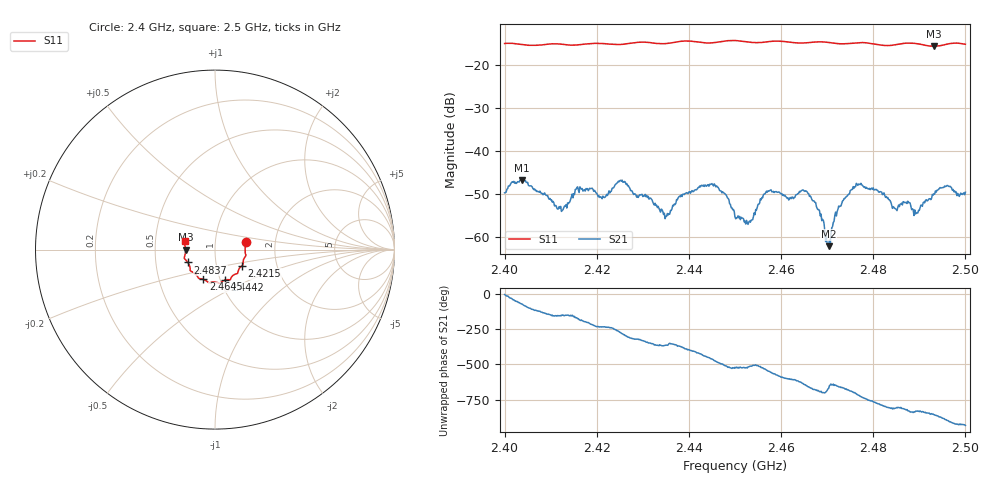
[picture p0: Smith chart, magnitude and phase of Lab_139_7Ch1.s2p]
# Hz S RI R 50
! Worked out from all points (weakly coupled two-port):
!   601 points, 2.4 GHz to 2.5 GHz, reference 50 ohm
!   highest |S21| = -46.70 dB at 2.4038 GHz (marker M1); lowest = -62.1 dB at 2.4703 GHz (marker M2)
!   lowest |S11| = -15.7 dB at 2.4932 GHz (marker M3), VSWR 1.39, Z = 35.9 - j0.0604 ohm
!   |S11| at or under -10 dB: start of sweep to end of sweep
!   S12 and S22 are empty: the file has one direction only
!   S11 on the Smith chart (normalised r, x): 2.4 GHz: 1.41, +0.12; 2.4215 GHz: 1.33, -0.25; 2.4442 GHz: 1.05, -0.37; 2.4645 GHz: 0.83, -0.29; 2.4837 GHz: 0.73, -0.11; 2.5 GHz: 0.71, +0.07
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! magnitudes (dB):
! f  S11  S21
! 2.4 GHz  -15.1  -49.7
! 2.4038 GHz  -15.3  -46.7
! 2.412 GHz  -15.2  -53.3
! 2.4167 GHz  -15.3  -48.8
! 2.4215 GHz  -15.1  -50.7
! 2.4255 GHz  -15.3  -46.8
! 2.4333 GHz  -15.1  -52.9
! 2.4353 GHz  -15.1  -54.5
! 2.4442 GHz  -15.0  -47.8
! 2.45 GHz  -14.4  -55.3
! 2.4528 GHz  -14.7  -57.0
! 2.4572 GHz  -14.7  -49.2
! 2.4645 GHz  -15.0  -49.2
! 2.4667 GHz  -14.8  -51.2
! 2.4703 GHz  -14.9  -62.1
! 2.4722 GHz  -15.1  -54.0
! 2.4762 GHz  -15.0  -48.3
! 2.4833 GHz  -15.6  -51.3
! 2.4837 GHz  -15.5  -51.5
! 2.4893 GHz  -15.1  -54.4
! 2.4932 GHz  -15.7  -49.9
! 2.5 GHz  -15.3  -49.6
